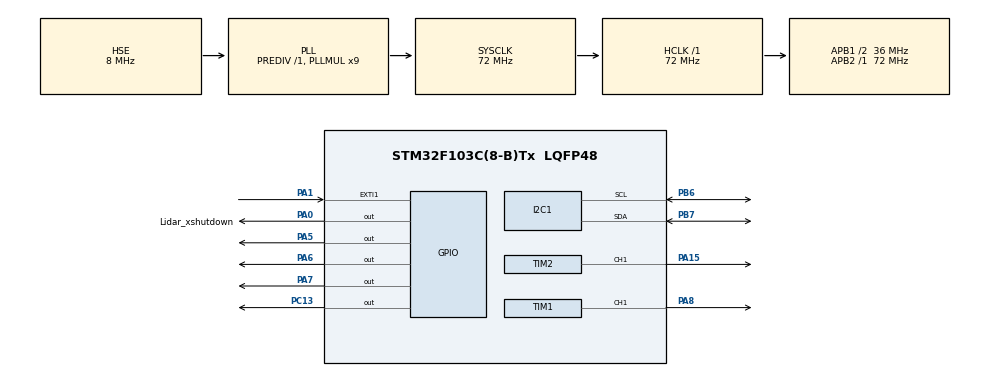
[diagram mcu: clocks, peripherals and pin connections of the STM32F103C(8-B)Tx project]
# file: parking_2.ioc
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I2C1.I2C_Mode=I2C_Fast
IWDG.Prescaler=IWDG_PRESCALER_64
IWDG.Reload=1250
Mcu.Family=STM32F1
Mcu.Name=STM32F103C(8-B)Tx
Mcu.Package=LQFP48
NVIC.EXTI1_IRQn=true\:0\:0\:false\:false\:true\:true\:true\:true
NVIC.PriorityGroup=NVIC_PRIORITYGROUP_4
NVIC.TIM2_IRQn=true\:0\:0\:false\:false\:true\:true\:true\:true
PA0-WKUP.GPIO_Label=Lidar_xshutdown
PA0-WKUP.Signal=GPIO_Output
PA1.GPIO_ModeDefaultEXTI=GPIO_MODE_IT_FALLING
PA1.GPIO_PuPd=GPIO_PULLUP
PA1.Signal=GPXTI1
PA13.Mode=Serial_Wire
PA13.Signal=SYS_JTMS-SWDIO
PA14.Mode=Serial_Wire
PA14.Signal=SYS_JTCK-SWCLK
PA15.Signal=S_TIM2_CH1_ETR
PA5.Signal=GPIO_Output
PA6.Signal=GPIO_Output
PA7.Signal=GPIO_Output
PA8.Signal=S_TIM1_CH1
PB6.Mode=I2C
PB6.Signal=I2C1_SCL
PB7.Mode=I2C
PB7.Signal=I2C1_SDA
PC13-TAMPER-RTC.Signal=GPIO_Output
PD0-OSC_IN.Mode=HSE-External-Oscillator
PD0-OSC_IN.Signal=RCC_OSC_IN
PD1-OSC_OUT.Mode=HSE-External-Oscillator
PD1-OSC_OUT.Signal=RCC_OSC_OUT
ProjectManager.HeapSize=0x200
ProjectManager.StackSize=0x400
ProjectManager.TargetToolchain=STM32CubeIDE
RCC.AHBFreq_Value=72000000
RCC.APB1CLKDivider=RCC_HCLK_DIV2
RCC.APB1Freq_Value=36000000
RCC.APB1TimFreq_Value=72000000
RCC.APB2Freq_Value=72000000
RCC.APB2TimFreq_Value=72000000
RCC.HCLKFreq_Value=72000000
RCC.PLLMUL=RCC_PLL_MUL9
RCC.PLLSourceVirtual=RCC_PLLSOURCE_HSE
RCC.SYSCLKFreq_VALUE=72000000
RCC.SYSCLKSource=RCC_SYSCLKSOURCE_PLLCLK
RCC.USBFreq_Value=72000000
SH.S_TIM1_CH1.0=TIM1_CH1,PWM Generation1 CH1
SH.S_TIM2_CH1_ETR.0=TIM2_CH1,PWM Generation1 CH1
TIM1.Channel-PWM\ Generation1\ CH1=TIM_CHANNEL_1
TIM1.Period=999
TIM1.Prescaler=71
TIM2.Channel-PWM\ Generation1\ CH1=TIM_CHANNEL_1
TIM2.Period=99
TIM2.Prescaler=7199
VP_IWDG_VS_IWDG.Mode=IWDG_Activate
board=custom

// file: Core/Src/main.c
/* USER CODE BEGIN Header */
/**
  ******************************************************************************
  * @file           : main.c
  * @brief          : Main program body
  ******************************************************************************
  * @attention
  *
  * Copyright (c) 2025 STMicroelectronics.
  * All rights reserved.
  *
  * This software is licensed under terms that can be found in the LICENSE file
  * in the root directory of this software component.
  * If no LICENSE file comes with this software, it is provided AS-IS.
  *
  ******************************************************************************
  */
/* USER CODE END Header */
#include "main.h"

/* USER CODE BEGIN Includes */

#include <stdio.h>
//#include <string.h>
//#include "fonts.h"
//#include "ssd1306.h"
#include "vl53l0x_api.h"

/* USER CODE END Includes */

/* USER CODE BEGIN PD */
#define BUZZ_TICK_MS 10
/* USER CODE END PD */

I2C_HandleTypeDef hi2c1;

IWDG_HandleTypeDef hiwdg;

TIM_HandleTypeDef htim1;
TIM_HandleTypeDef htim2;

/* USER CODE BEGIN PV */

volatile uint8_t flag_new_data = 0;
uint8_t state = 0;
VL53L0X_RangingMeasurementData_t RangingData;
VL53L0X_Dev_t  vl53l0x_c;
VL53L0X_DEV Dev = &vl53l0x_c;
char distance[20];
float distanceInCm;

typedef struct {
    uint16_t on_ms;
    uint16_t off_ms;
    uint16_t freq_hz;
    uint8_t  duty_pct;   // 0..100
} BuzzerPattern_t;

volatile BuzzerPattern_t g_buzz_pat = {0};
volatile uint16_t g_buzz_counter = 0;
volatile uint8_t  g_buzz_phase_on = 0;
volatile uint8_t  g_buzzer_enabled = 0;
uint8_t last_state = 0xFF;
/* USER CODE END PV */

void SystemClock_Config(void);
static void MX_GPIO_Init(void);
static void MX_I2C1_Init(void);
static void MX_IWDG_Init(void);
static void MX_TIM1_Init(void);
static void MX_TIM2_Init(void);
/* USER CODE BEGIN PFP */
static inline void BUZZ_Apply(uint16_t hz, uint8_t duty_pct);
static inline void BUZZ_StartTone(uint16_t hz, uint8_t duty_pct);
static inline void BUZZ_Stop(void);
static void BUZZ_SetPatternForState(uint8_t s);
/* USER CODE END PFP */

/* USER CODE BEGIN 0 */

void LidarInit() {
	uint32_t refSpadCount;
	uint8_t isApertureSpads;
	uint8_t VhvSettings;
	uint8_t PhaseCal;

	VL53L0X_WaitDeviceBooted( Dev );
	VL53L0X_DataInit( Dev );
	VL53L0X_StaticInit( Dev );
	VL53L0X_PerformRefCalibration(Dev, &VhvSettings, &PhaseCal);
	VL53L0X_PerformRefSpadManagement(Dev, &refSpadCount, &isApertureSpads);
	VL53L0X_SetDeviceMode(Dev, VL53L0X_DEVICEMODE_CONTINUOUS_RANGING);
	VL53L0X_SetLimitCheckEnable(Dev, VL53L0X_CHECKENABLE_SIGMA_FINAL_RANGE, 1);
	VL53L0X_SetLimitCheckEnable(Dev, VL53L0X_CHECKENABLE_SIGNAL_RATE_FINAL_RANGE, 1);
	VL53L0X_SetLimitCheckValue(Dev, VL53L0X_CHECKENABLE_SIGNAL_RATE_FINAL_RANGE, (FixPoint1616_t)(0.1*65536));
	VL53L0X_SetLimitCheckValue(Dev, VL53L0X_CHECKENABLE_SIGMA_FINAL_RANGE, (FixPoint1616_t)(60*65536));
	VL53L0X_SetMeasurementTimingBudgetMicroSeconds(Dev, 33000);
	VL53L0X_SetVcselPulsePeriod(Dev, VL53L0X_VCSEL_PERIOD_PRE_RANGE, 18);
	VL53L0X_SetVcselPulsePeriod(Dev, VL53L0X_VCSEL_PERIOD_FINAL_RANGE, 14);

	VL53L0X_SetGpioConfig(Dev,0,
		    VL53L0X_DEVICEMODE_CONTINUOUS_RANGING,
		    VL53L0X_GPIOFUNCTIONALITY_NEW_MEASURE_READY,
		    VL53L0X_INTERRUPTPOLARITY_LOW
		);
	VL53L0X_StartMeasurement(Dev);
}

static inline void BUZZ_Apply(uint16_t hz, uint8_t duty_pct)
{
    if (hz == 0 || duty_pct == 0) {
        __HAL_TIM_SET_COMPARE(&htim1, TIM_CHANNEL_1, 0);
        return;
    }
    uint32_t arr = (1000000UL / hz) - 1;
    if (arr < 1) arr = 1;
    __HAL_TIM_SET_AUTORELOAD(&htim1, arr);
    __HAL_TIM_SET_COMPARE(&htim1, TIM_CHANNEL_1, ((arr + 1) * duty_pct) / 100);
}

static inline void BUZZ_StartTone(uint16_t hz, uint8_t duty_pct)
{
    BUZZ_Apply(hz, duty_pct);
    g_buzzer_enabled = 1;
}

static inline void BUZZ_Stop(void)
{
	 __HAL_TIM_SET_COMPARE(&htim1, TIM_CHANNEL_1, 0);
    g_buzzer_enabled = 0;
}

static void BUZZ_SetPatternForState(uint8_t s)
{
    if (s == last_state) return;
    last_state = s;

    switch (s) {
    case 1:
        g_buzz_pat = (BuzzerPattern_t){ .on_ms=1000, .off_ms=0,   .freq_hz=3000, .duty_pct=50 };
        g_buzz_phase_on = 1; g_buzz_counter = 0;
        BUZZ_StartTone(g_buzz_pat.freq_hz, g_buzz_pat.duty_pct);
        break;

    case 2:
        g_buzz_pat = (BuzzerPattern_t){ .on_ms=200, .off_ms=200, .freq_hz=2500, .duty_pct=50 };
        g_buzz_phase_on = 1; g_buzz_counter = 0;
        BUZZ_StartTone(g_buzz_pat.freq_hz, g_buzz_pat.duty_pct);
        break;

    case 3:
        g_buzz_pat = (BuzzerPattern_t){ .on_ms=80,  .off_ms=420, .freq_hz=2000, .duty_pct=50 };
        g_buzz_phase_on = 1; g_buzz_counter = 0;
        BUZZ_StartTone(g_buzz_pat.freq_hz, g_buzz_pat.duty_pct);
        break;

    default:
        g_buzz_pat = (BuzzerPattern_t){0};
        g_buzz_phase_on = 0; g_buzz_counter = 0;
        BUZZ_Stop();
        break;
    }
}

/* USER CODE END 0 */

int main(void)
{

  /* MCU Configuration--------------------------------------------------------*/

  /* Reset of all peripherals, Initializes the Flash interface and the Systick. */
  HAL_Init();

  /* Configure the system clock */
  SystemClock_Config();

  /* Initialize all configured peripherals */
  MX_GPIO_Init();
  MX_I2C1_Init();
  MX_IWDG_Init();
  MX_TIM1_Init();
  MX_TIM2_Init();
  /* USER CODE BEGIN 2 */
  HAL_TIM_Base_Start_IT(&htim2);
  HAL_TIM_PWM_Start(&htim1, TIM_CHANNEL_1);

  if (__HAL_RCC_GET_FLAG(RCC_FLAG_IWDGRST) != RESET)
  	{
  	    HAL_GPIO_WritePin(GPIOC, GPIO_PIN_13, GPIO_PIN_SET);
  	    HAL_Delay(1000);
  	    HAL_GPIO_WritePin(GPIOC, GPIO_PIN_13, GPIO_PIN_RESET);
  	    __HAL_RCC_CLEAR_RESET_FLAGS();
  	}

  HAL_Delay(100);

  Dev->I2cHandle = &hi2c1;
  Dev->I2cDevAddr = 0x52;

  HAL_GPIO_WritePin(Lidar_xshutdown_GPIO_Port, Lidar_xshutdown_Pin, GPIO_PIN_RESET);
  HAL_Delay(20);
  HAL_GPIO_WritePin(Lidar_xshutdown_GPIO_Port, Lidar_xshutdown_Pin, GPIO_PIN_SET);
  HAL_Delay(20);

  LidarInit();
  //SSD1306_Init();
  //uint32_t last_oled_ms = 0;

  /* USER CODE END 2 */

  /* Infinite loop */
  while (1)
  {

    /* USER CODE BEGIN 3 */
	  if (flag_new_data)
	     {
	         flag_new_data = 0;
	         VL53L0X_Error status;
	         status = VL53L0X_GetRangingMeasurementData(Dev, &RangingData);
	         if (status == VL53L0X_ERROR_NONE && RangingData.RangeStatus == 0)
	         {
	             distanceInCm = RangingData.RangeMilliMeter / 10.0f;
	             HAL_IWDG_Refresh(&hiwdg);  // refresh iwdg
	         }
	         else
	             distanceInCm = 8190; // tidak terdeteksi

	         VL53L0X_ClearInterruptMask(Dev, VL53L0X_REG_SYSTEM_INTERRUPT_GPIO_NEW_SAMPLE_READY);
	         //VL53L0X_PollingDelay(Dev);

	         /*uint32_t now = HAL_GetTick();
	         if (now - last_oled_ms >= 100) {
	             last_oled_ms = now;
	             SSD1306_Fill(SSD1306_COLOR_BLACK);
	             SSD1306_GotoXY(10,10);
	             SSD1306_Puts("Distance:", &Font_11x18, 1);
	             SSD1306_GotoXY(10,30);
	             sprintf(distance, "%.1f cm", distanceInCm);
	             SSD1306_Puts(distance, &Font_11x18, 1);
	             SSD1306_UpdateScreen();
	         }*/

	         if (distanceInCm < 7)
	             state = 1;
	         else if (distanceInCm < 15)
	             state = 2;
	         else if (distanceInCm < 25)
	             state = 3;
	         else
	             state = 0;

	         switch(state)
	         {
	             case 1:
	                 HAL_GPIO_WritePin(GPIOA, GPIO_PIN_5, GPIO_PIN_SET);
	                 HAL_GPIO_WritePin(GPIOA, GPIO_PIN_6, GPIO_PIN_RESET);
	                 HAL_GPIO_WritePin(GPIOA, GPIO_PIN_7, GPIO_PIN_RESET);

	                 break;

	             case 2:
	                 HAL_GPIO_WritePin(GPIOA, GPIO_PIN_6, GPIO_PIN_SET);
	                 HAL_GPIO_WritePin(GPIOA, GPIO_PIN_7, GPIO_PIN_RESET);
	                 HAL_GPIO_WritePin(GPIOA, GPIO_PIN_5, GPIO_PIN_RESET);

	                 break;

	             case 3:
	                 HAL_GPIO_WritePin(GPIOA, GPIO_PIN_7, GPIO_PIN_SET);
	                 HAL_GPIO_WritePin(GPIOA, GPIO_PIN_6, GPIO_PIN_RESET);
	                 HAL_GPIO_WritePin(GPIOA, GPIO_PIN_5, GPIO_PIN_RESET);

	                 break;

	             default:
	                 HAL_GPIO_WritePin(GPIOA, GPIO_PIN_7, GPIO_PIN_RESET);
	                 HAL_GPIO_WritePin(GPIOA, GPIO_PIN_6, GPIO_PIN_RESET);
	                 HAL_GPIO_WritePin(GPIOA, GPIO_PIN_5, GPIO_PIN_RESET);

	                 break;
	         }
	         BUZZ_SetPatternForState(state);
	     }

  }
	  HAL_Delay(10);
  /* USER CODE END 3 */
}

void SystemClock_Config(void)
{
  RCC_OscInitTypeDef RCC_OscInitStruct = {0};
  RCC_ClkInitTypeDef RCC_ClkInitStruct = {0};

  /** Initializes the RCC Oscillators according to the specified parameters
  * in the RCC_OscInitTypeDef structure.
  */
  RCC_OscInitStruct.OscillatorType = RCC_OSCILLATORTYPE_LSI|RCC_OSCILLATORTYPE_HSE;
  RCC_OscInitStruct.HSEState = RCC_HSE_ON;
  RCC_OscInitStruct.HSEPredivValue = RCC_HSE_PREDIV_DIV1;
  RCC_OscInitStruct.HSIState = RCC_HSI_ON;
  RCC_OscInitStruct.LSIState = RCC_LSI_ON;
  RCC_OscInitStruct.PLL.PLLState = RCC_PLL_ON;
  RCC_OscInitStruct.PLL.PLLSource = RCC_PLLSOURCE_HSE;
  RCC_OscInitStruct.PLL.PLLMUL = RCC_PLL_MUL9;
  if (HAL_RCC_OscConfig(&RCC_OscInitStruct) != HAL_OK)
  {
    Error_Handler();
  }

  /** Initializes the CPU, AHB and APB buses clocks
  */
  RCC_ClkInitStruct.ClockType = RCC_CLOCKTYPE_HCLK|RCC_CLOCKTYPE_SYSCLK
                              |RCC_CLOCKTYPE_PCLK1|RCC_CLOCKTYPE_PCLK2;
  RCC_ClkInitStruct.SYSCLKSource = RCC_SYSCLKSOURCE_PLLCLK;
  RCC_ClkInitStruct.AHBCLKDivider = RCC_SYSCLK_DIV1;
  RCC_ClkInitStruct.APB1CLKDivider = RCC_HCLK_DIV2;
  RCC_ClkInitStruct.APB2CLKDivider = RCC_HCLK_DIV1;

  if (HAL_RCC_ClockConfig(&RCC_ClkInitStruct, FLASH_LATENCY_2) != HAL_OK)
  {
    Error_Handler();
  }
}

static void MX_I2C1_Init(void)
{

  hi2c1.Instance = I2C1;
  hi2c1.Init.ClockSpeed = 400000;
  hi2c1.Init.DutyCycle = I2C_DUTYCYCLE_2;
  hi2c1.Init.OwnAddress1 = 0;
  hi2c1.Init.AddressingMode = I2C_ADDRESSINGMODE_7BIT;
  hi2c1.Init.DualAddressMode = I2C_DUALADDRESS_DISABLE;
  hi2c1.Init.OwnAddress2 = 0;
  hi2c1.Init.GeneralCallMode = I2C_GENERALCALL_DISABLE;
  hi2c1.Init.NoStretchMode = I2C_NOSTRETCH_DISABLE;
  if (HAL_I2C_Init(&hi2c1) != HAL_OK)
  {
    Error_Handler();
  }

}

static void MX_IWDG_Init(void)
{

  hiwdg.Instance = IWDG;
  hiwdg.Init.Prescaler = IWDG_PRESCALER_64;
  hiwdg.Init.Reload = 1250;
  if (HAL_IWDG_Init(&hiwdg) != HAL_OK)
  {
    Error_Handler();
  }

}

static void MX_TIM1_Init(void)
{

  TIM_MasterConfigTypeDef sMasterConfig = {0};
  TIM_OC_InitTypeDef sConfigOC = {0};
  TIM_BreakDeadTimeConfigTypeDef sBreakDeadTimeConfig = {0};

  htim1.Instance = TIM1;
  htim1.Init.Prescaler = 71;
  htim1.Init.CounterMode = TIM_COUNTERMODE_UP;
  htim1.Init.Period = 999;
  htim1.Init.ClockDivision = TIM_CLOCKDIVISION_DIV1;
  htim1.Init.RepetitionCounter = 0;
  htim1.Init.AutoReloadPreload = TIM_AUTORELOAD_PRELOAD_DISABLE;
  if (HAL_TIM_PWM_Init(&htim1) != HAL_OK)
  {
    Error_Handler();
  }
  sMasterConfig.MasterOutputTrigger = TIM_TRGO_RESET;
  sMasterConfig.MasterSlaveMode = TIM_MASTERSLAVEMODE_DISABLE;
  if (HAL_TIMEx_MasterConfigSynchronization(&htim1, &sMasterConfig) != HAL_OK)
  {
    Error_Handler();
  }
  sConfigOC.OCMode = TIM_OCMODE_PWM1;
  sConfigOC.Pulse = 0;
  sConfigOC.OCPolarity = TIM_OCPOLARITY_HIGH;
  sConfigOC.OCNPolarity = TIM_OCNPOLARITY_HIGH;
  sConfigOC.OCFastMode = TIM_OCFAST_DISABLE;
  sConfigOC.OCIdleState = TIM_OCIDLESTATE_RESET;
  sConfigOC.OCNIdleState = TIM_OCNIDLESTATE_RESET;
  if (HAL_TIM_PWM_ConfigChannel(&htim1, &sConfigOC, TIM_CHANNEL_1) != HAL_OK)
  {
    Error_Handler();
  }
  sBreakDeadTimeConfig.OffStateRunMode = TIM_OSSR_DISABLE;
  sBreakDeadTimeConfig.OffStateIDLEMode = TIM_OSSI_DISABLE;
  sBreakDeadTimeConfig.LockLevel = TIM_LOCKLEVEL_OFF;
  sBreakDeadTimeConfig.DeadTime = 0;
  sBreakDeadTimeConfig.BreakState = TIM_BREAK_DISABLE;
  sBreakDeadTimeConfig.BreakPolarity = TIM_BREAKPOLARITY_HIGH;
  sBreakDeadTimeConfig.AutomaticOutput = TIM_AUTOMATICOUTPUT_DISABLE;
  if (HAL_TIMEx_ConfigBreakDeadTime(&htim1, &sBreakDeadTimeConfig) != HAL_OK)
  {
    Error_Handler();
  }
  HAL_TIM_MspPostInit(&htim1);

}

static void MX_TIM2_Init(void)
{

  TIM_MasterConfigTypeDef sMasterConfig = {0};
  TIM_OC_InitTypeDef sConfigOC = {0};

  htim2.Instance = TIM2;
  htim2.Init.Prescaler = 7199;
  htim2.Init.CounterMode = TIM_COUNTERMODE_UP;
  htim2.Init.Period = 99;
  htim2.Init.ClockDivision = TIM_CLOCKDIVISION_DIV1;
  htim2.Init.AutoReloadPreload = TIM_AUTORELOAD_PRELOAD_DISABLE;
  if (HAL_TIM_PWM_Init(&htim2) != HAL_OK)
  {
    Error_Handler();
  }
  sMasterConfig.MasterOutputTrigger = TIM_TRGO_RESET;
  sMasterConfig.MasterSlaveMode = TIM_MASTERSLAVEMODE_DISABLE;
  if (HAL_TIMEx_MasterConfigSynchronization(&htim2, &sMasterConfig) != HAL_OK)
  {
    Error_Handler();
  }
  sConfigOC.OCMode = TIM_OCMODE_PWM1;
  sConfigOC.Pulse = 0;
  sConfigOC.OCPolarity = TIM_OCPOLARITY_HIGH;
  sConfigOC.OCFastMode = TIM_OCFAST_DISABLE;
  if (HAL_TIM_PWM_ConfigChannel(&htim2, &sConfigOC, TIM_CHANNEL_1) != HAL_OK)
  {
    Error_Handler();
  }
  /* USER CODE BEGIN TIM2_Init 2 */
  HAL_NVIC_SetPriority(TIM2_IRQn, 1, 0);
   HAL_NVIC_EnableIRQ(TIM2_IRQn);
  /* USER CODE END TIM2_Init 2 */
  HAL_TIM_MspPostInit(&htim2);

}

static void MX_GPIO_Init(void)
{
  GPIO_InitTypeDef GPIO_InitStruct = {0};

  /* GPIO Ports Clock Enable */
  __HAL_RCC_GPIOC_CLK_ENABLE();
  __HAL_RCC_GPIOD_CLK_ENABLE();
  __HAL_RCC_GPIOA_CLK_ENABLE();
  __HAL_RCC_GPIOB_CLK_ENABLE();

  /*Configure GPIO pin Output Level */
  HAL_GPIO_WritePin(GPIOC, GPIO_PIN_13, GPIO_PIN_RESET);

  /*Configure GPIO pin Output Level */
  HAL_GPIO_WritePin(GPIOA, Lidar_xshutdown_Pin|GPIO_PIN_5|GPIO_PIN_6|GPIO_PIN_7, GPIO_PIN_RESET);

  /*Configure GPIO pin : PC13 */
  GPIO_InitStruct.Pin = GPIO_PIN_13;
  GPIO_InitStruct.Mode = GPIO_MODE_OUTPUT_PP;
  GPIO_InitStruct.Pull = GPIO_NOPULL;
  GPIO_InitStruct.Speed = GPIO_SPEED_FREQ_LOW;
  HAL_GPIO_Init(GPIOC, &GPIO_InitStruct);

  /*Configure GPIO pins : Lidar_xshutdown_Pin PA5 PA6 PA7 */
  GPIO_InitStruct.Pin = Lidar_xshutdown_Pin|GPIO_PIN_5|GPIO_PIN_6|GPIO_PIN_7;
  GPIO_InitStruct.Mode = GPIO_MODE_OUTPUT_PP;
  GPIO_InitStruct.Pull = GPIO_NOPULL;
  GPIO_InitStruct.Speed = GPIO_SPEED_FREQ_LOW;
  HAL_GPIO_Init(GPIOA, &GPIO_InitStruct);

  /*Configure GPIO pin : PA1 */
  GPIO_InitStruct.Pin = GPIO_PIN_1;
  GPIO_InitStruct.Mode = GPIO_MODE_IT_FALLING;
  GPIO_InitStruct.Pull = GPIO_PULLUP;
  HAL_GPIO_Init(GPIOA, &GPIO_InitStruct);

  /* EXTI interrupt init*/
  HAL_NVIC_SetPriority(EXTI1_IRQn, 0, 0);
  HAL_NVIC_EnableIRQ(EXTI1_IRQn);

}

/* USER CODE BEGIN 4 */
void HAL_GPIO_EXTI_Callback(uint16_t GPIO_Pin)
{
    if (GPIO_Pin == GPIO_PIN_1)
    {
        flag_new_data = 1;
    }
}

void HAL_TIM_PeriodElapsedCallback(TIM_HandleTypeDef *htim)
{
    if (htim->Instance == TIM2) {
        if (g_buzz_pat.on_ms == 0 && g_buzz_pat.off_ms == 0) return;

        g_buzz_counter += BUZZ_TICK_MS;

        if (g_buzz_phase_on) {
            if (g_buzz_pat.off_ms == 0) {

                return;
            }
            if (g_buzz_counter >= g_buzz_pat.on_ms) {
                g_buzz_phase_on = 0;
                g_buzz_counter = 0;
                BUZZ_Stop();  //
            }
        } else {
            if (g_buzz_counter >= g_buzz_pat.off_ms) {
                g_buzz_phase_on = 1;
                g_buzz_counter = 0;
                BUZZ_StartTone(g_buzz_pat.freq_hz, g_buzz_pat.duty_pct);
            }
        }
    }
}
/* USER CODE END 4 */

void Error_Handler(void)
{
  __disable_irq();
  while (1)
  {
  }
}
